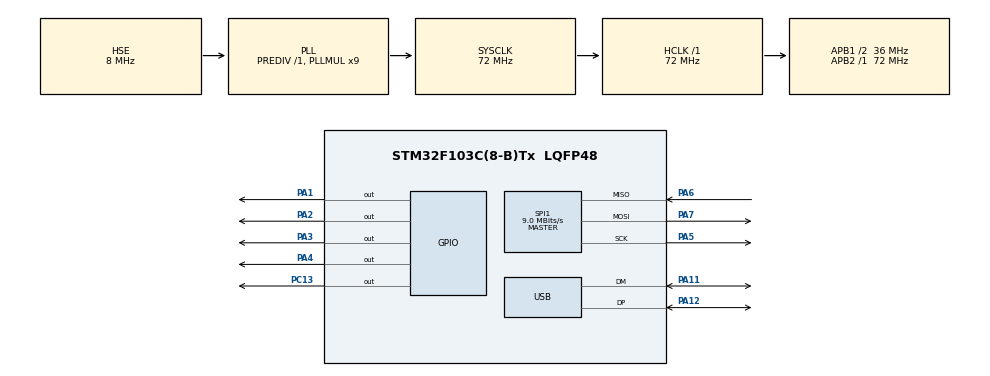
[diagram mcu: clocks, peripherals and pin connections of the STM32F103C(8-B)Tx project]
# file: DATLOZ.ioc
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Mcu.Family=STM32F1
Mcu.Name=STM32F103C(8-B)Tx
Mcu.Package=LQFP48
NVIC.PriorityGroup=NVIC_PRIORITYGROUP_4
NVIC.USB_LP_CAN1_RX0_IRQn=true\:0\:0\:false\:false\:true\:false\:true
PA1.GPIO_ModeDefaultOutputPP=GPIO_MODE_OUTPUT_PP
PA1.GPIO_PuPd=GPIO_NOPULL
PA1.GPIO_Speed=GPIO_SPEED_FREQ_HIGH
PA1.PinState=GPIO_PIN_RESET
PA1.Signal=GPIO_Output
PA11.Mode=Device
PA11.Signal=USB_DM
PA12.Mode=Device
PA12.Signal=USB_DP
PA13.Mode=Serial_Wire
PA13.Signal=SYS_JTMS-SWDIO
PA14.Mode=Serial_Wire
PA14.Signal=SYS_JTCK-SWCLK
PA2.GPIO_ModeDefaultOutputPP=GPIO_MODE_OUTPUT_PP
PA2.GPIO_PuPd=GPIO_NOPULL
PA2.GPIO_Speed=GPIO_SPEED_FREQ_HIGH
PA2.PinState=GPIO_PIN_RESET
PA2.Signal=GPIO_Output
PA3.GPIO_ModeDefaultOutputPP=GPIO_MODE_OUTPUT_PP
PA3.GPIO_PuPd=GPIO_NOPULL
PA3.GPIO_Speed=GPIO_SPEED_FREQ_HIGH
PA3.PinState=GPIO_PIN_RESET
PA3.Signal=GPIO_Output
PA4.GPIO_ModeDefaultOutputPP=GPIO_MODE_OUTPUT_PP
PA4.GPIO_PuPd=GPIO_NOPULL
PA4.GPIO_Speed=GPIO_SPEED_FREQ_HIGH
PA4.PinState=GPIO_PIN_RESET
PA4.Signal=GPIO_Output
PA5.Mode=Full_Duplex_Master
PA5.Signal=SPI1_SCK
PA6.Mode=Full_Duplex_Master
PA6.Signal=SPI1_MISO
PA7.Mode=Full_Duplex_Master
PA7.Signal=SPI1_MOSI
PC13-TAMPER-RTC.GPIO_ModeDefaultOutputPP=GPIO_MODE_OUTPUT_PP
PC13-TAMPER-RTC.GPIO_PuPd=GPIO_NOPULL
PC13-TAMPER-RTC.GPIO_Speed=GPIO_SPEED_FREQ_HIGH
PC13-TAMPER-RTC.PinState=GPIO_PIN_RESET
PC13-TAMPER-RTC.Signal=GPIO_Output
PD0-OSC_IN.Mode=HSE-External-Oscillator
PD0-OSC_IN.Signal=RCC_OSC_IN
PD1-OSC_OUT.Mode=HSE-External-Oscillator
PD1-OSC_OUT.Signal=RCC_OSC_OUT
ProjectManager.HeapSize=0x200
ProjectManager.StackSize=0x400
ProjectManager.TargetToolchain=MDK-ARM V5.27
RCC.AHBFreq_Value=72000000
RCC.APB1CLKDivider=RCC_HCLK_DIV2
RCC.APB1Freq_Value=36000000
RCC.APB1TimFreq_Value=72000000
RCC.APB2Freq_Value=72000000
RCC.APB2TimFreq_Value=72000000
RCC.HCLKFreq_Value=72000000
RCC.PLLMUL=RCC_PLL_MUL9
RCC.SYSCLKFreq_VALUE=72000000
RCC.SYSCLKSource=RCC_SYSCLKSOURCE_PLLCLK
RCC.USBFreq_Value=48000000
RCC.USBPrescaler=RCC_USBCLKSOURCE_PLL_DIV1_5
SPI1.BaudRatePrescaler=SPI_BAUDRATEPRESCALER_8
SPI1.CalculateBaudRate=9.0 MBits/s
SPI1.Direction=SPI_DIRECTION_2LINES
SPI1.Mode=SPI_MODE_MASTER
SPI1.VirtualType=VM_MASTER
USB_DEVICE.CLASS_NAME_FS=CDC
USB_DEVICE.VirtualMode=Cdc
USB_DEVICE.VirtualModeFS=Cdc_FS
VP_USB_DEVICE_VS_USB_DEVICE_CDC_FS.Mode=CDC_FS
board=custom

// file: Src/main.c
/* USER CODE BEGIN Header */
/**
  ******************************************************************************
  * @file           : main.c
  * @brief          : Main program body
  ******************************************************************************
  * @attention
  *
  * <h2><center>&copy; Copyright (c) 2020 STMicroelectronics.
  * All rights reserved.</center></h2>
  *
  * This software component is licensed by ST under Ultimate Liberty license
  * SLA0044, the "License"; You may not use this file except in compliance with
  * the License. You may obtain a copy of the License at:
  *                             www.st.com/SLA0044
  *
  ******************************************************************************
  */
/* USER CODE END Header */

#include "main.h"
#include "usb_device.h"
#include "rc522.h"
#include "rc1.h"

SPI_HandleTypeDef hspi1;
unsigned char CardID[5];
unsigned char CardID1[5];
/* USER CODE BEGIN PV */
// RC522
uint8_t MFRC522_Check(uint8_t* id);
uint8_t MFRC522_Compare(uint8_t* CardID, uint8_t* CompareID);
void MFRC522_WriteRegister(uint8_t addr, uint8_t val);
uint8_t MFRC522_ReadRegister(uint8_t addr);
void MFRC522_SetBitMask(uint8_t reg, uint8_t mask);
void MFRC522_ClearBitMask(uint8_t reg, uint8_t mask);
uint8_t MFRC522_Request(uint8_t reqMode, uint8_t* TagType);
uint8_t MFRC522_ToCard(uint8_t command, uint8_t* sendData, uint8_t sendLen, uint8_t* backData, uint16_t* backLen);
uint8_t MFRC522_Anticoll(uint8_t* serNum);
void MFRC522_CalulateCRC(uint8_t* pIndata, uint8_t len, uint8_t* pOutData);
uint8_t MFRC522_SelectTag(uint8_t* serNum);
uint8_t MFRC522_Auth(uint8_t authMode, uint8_t BlockAddr, uint8_t* Sectorkey, uint8_t* serNum);
uint8_t MFRC522_Read(uint8_t blockAddr, uint8_t* recvData);
uint8_t MFRC522_Write(uint8_t blockAddr, uint8_t* writeData);
void MFRC522_Init(void);
void MFRC522_Reset(void);
void MFRC522_AntennaOn(void);
void MFRC522_AntennaOff(void);
void MFRC522_Halt(void);

/*--- RC1 ---*/
uint8_t MFRC1_Check(uint8_t* id);
uint8_t MFRC1_Compare(uint8_t* CardID, uint8_t* CompareID);
void MFRC1_WriteRegister(uint8_t addr, uint8_t val);
uint8_t MFRC1_ReadRegister(uint8_t addr);
void MFRC1_SetBitMask(uint8_t reg, uint8_t mask);
void MFRC1_ClearBitMask(uint8_t reg, uint8_t mask);
uint8_t MFRC1_Request(uint8_t reqMode, uint8_t* TagType);
uint8_t MFRC1_ToCard(uint8_t command, uint8_t* sendData, uint8_t sendLen, uint8_t* backData, uint16_t* backLen);
uint8_t MFRC1_Anticoll(uint8_t* serNum);
void MFRC1_CalulateCRC(uint8_t* pIndata, uint8_t len, uint8_t* pOutData);
uint8_t MFRC1_SelectTag(uint8_t* serNum);
uint8_t MFRC1_Auth(uint8_t authMode, uint8_t BlockAddr, uint8_t* Sectorkey, uint8_t* serNum);
uint8_t MFRC1_Read(uint8_t blockAddr, uint8_t* recvData);
uint8_t MFRC1_Write(uint8_t blockAddr, uint8_t* writeData);
void MFRC1_Init(void);
void MFRC1_Reset(void);
void MFRC1_AntennaOn(void);
void MFRC1_AntennaOff(void);
void MFRC1_Halt(void);
/* USER CODE END PV */

void SystemClock_Config(void);
static void MX_GPIO_Init(void);
static void MX_SPI1_Init(void);

int main(void)
{

  /* MCU Configuration--------------------------------------------------------*/

  /* Reset of all peripherals, Initializes the Flash interface and the Systick. */
  HAL_Init();

  /* Configure the system clock */
  SystemClock_Config();

  /* Initialize all configured peripherals */
  MX_GPIO_Init();
  MX_SPI1_Init();
  MX_USB_DEVICE_Init();
  /* USER CODE BEGIN 2 */
	MFRC522_Init();
	MFRC1_Init();
  /* USER CODE END 2 */

  /* Infinite loop */
  while (1)
  {
		if (MFRC522_Check(CardID) == MI_OK)
		{
			HAL_GPIO_TogglePin(GPIOD, GPIO_PIN_12|GPIO_PIN_13|GPIO_PIN_14|GPIO_PIN_15);
			HAL_Delay(1000);
		}
		if (MFRC1_Check(CardID1) == MI_OK)
		{
			HAL_GPIO_TogglePin(GPIOD, GPIO_PIN_12|GPIO_PIN_13|GPIO_PIN_14|GPIO_PIN_15);
			HAL_Delay(1000);
		}
		HAL_Delay(100);
  }
}

void SystemClock_Config(void)
{
  RCC_OscInitTypeDef RCC_OscInitStruct = {0};
  RCC_ClkInitTypeDef RCC_ClkInitStruct = {0};
  RCC_PeriphCLKInitTypeDef PeriphClkInit = {0};

  /** Initializes the CPU, AHB and APB busses clocks
  */
  RCC_OscInitStruct.OscillatorType = RCC_OSCILLATORTYPE_HSE;
  RCC_OscInitStruct.HSEState = RCC_HSE_ON;
  RCC_OscInitStruct.HSEPredivValue = RCC_HSE_PREDIV_DIV1;
  RCC_OscInitStruct.HSIState = RCC_HSI_ON;
  RCC_OscInitStruct.PLL.PLLState = RCC_PLL_ON;
  RCC_OscInitStruct.PLL.PLLSource = RCC_PLLSOURCE_HSE;
  RCC_OscInitStruct.PLL.PLLMUL = RCC_PLL_MUL9;
  if (HAL_RCC_OscConfig(&RCC_OscInitStruct) != HAL_OK)
  {
    Error_Handler();
  }
  /** Initializes the CPU, AHB and APB busses clocks
  */
  RCC_ClkInitStruct.ClockType = RCC_CLOCKTYPE_HCLK|RCC_CLOCKTYPE_SYSCLK
                              |RCC_CLOCKTYPE_PCLK1|RCC_CLOCKTYPE_PCLK2;
  RCC_ClkInitStruct.SYSCLKSource = RCC_SYSCLKSOURCE_PLLCLK;
  RCC_ClkInitStruct.AHBCLKDivider = RCC_SYSCLK_DIV1;
  RCC_ClkInitStruct.APB1CLKDivider = RCC_HCLK_DIV2;
  RCC_ClkInitStruct.APB2CLKDivider = RCC_HCLK_DIV1;

  if (HAL_RCC_ClockConfig(&RCC_ClkInitStruct, FLASH_LATENCY_2) != HAL_OK)
  {
    Error_Handler();
  }
  PeriphClkInit.PeriphClockSelection = RCC_PERIPHCLK_USB;
  PeriphClkInit.UsbClockSelection = RCC_USBCLKSOURCE_PLL_DIV1_5;
  if (HAL_RCCEx_PeriphCLKConfig(&PeriphClkInit) != HAL_OK)
  {
    Error_Handler();
  }
}

static void MX_SPI1_Init(void)
{

  /* SPI1 parameter configuration*/
  hspi1.Instance = SPI1;
  hspi1.Init.Mode = SPI_MODE_MASTER;
  hspi1.Init.Direction = SPI_DIRECTION_2LINES;
  hspi1.Init.DataSize = SPI_DATASIZE_8BIT;
  hspi1.Init.CLKPolarity = SPI_POLARITY_LOW;
  hspi1.Init.CLKPhase = SPI_PHASE_1EDGE;
  hspi1.Init.NSS = SPI_NSS_SOFT;
  hspi1.Init.BaudRatePrescaler = SPI_BAUDRATEPRESCALER_8;
  hspi1.Init.FirstBit = SPI_FIRSTBIT_MSB;
  hspi1.Init.TIMode = SPI_TIMODE_DISABLE;
  hspi1.Init.CRCCalculation = SPI_CRCCALCULATION_DISABLE;
  hspi1.Init.CRCPolynomial = 10;
  if (HAL_SPI_Init(&hspi1) != HAL_OK)
  {
    Error_Handler();
  }

}

static void MX_GPIO_Init(void)
{
  GPIO_InitTypeDef GPIO_InitStruct = {0};

  /* GPIO Ports Clock Enable */
  __HAL_RCC_GPIOC_CLK_ENABLE();
  __HAL_RCC_GPIOD_CLK_ENABLE();
  __HAL_RCC_GPIOA_CLK_ENABLE();

  /*Configure GPIO pin Output Level */
  HAL_GPIO_WritePin(GPIOC, GPIO_PIN_13, GPIO_PIN_RESET);

  /*Configure GPIO pin Output Level */
  HAL_GPIO_WritePin(GPIOA, GPIO_PIN_1|GPIO_PIN_2|GPIO_PIN_3|GPIO_PIN_4, GPIO_PIN_RESET);

  /*Configure GPIO pin : PC13 */
  GPIO_InitStruct.Pin = GPIO_PIN_13;
  GPIO_InitStruct.Mode = GPIO_MODE_OUTPUT_PP;
  GPIO_InitStruct.Pull = GPIO_NOPULL;
  GPIO_InitStruct.Speed = GPIO_SPEED_FREQ_HIGH;
  HAL_GPIO_Init(GPIOC, &GPIO_InitStruct);

  /*Configure GPIO pins : PA1 PA2 PA3 PA4 */
  GPIO_InitStruct.Pin = GPIO_PIN_1|GPIO_PIN_2|GPIO_PIN_3|GPIO_PIN_4;
  GPIO_InitStruct.Mode = GPIO_MODE_OUTPUT_PP;
  GPIO_InitStruct.Pull = GPIO_NOPULL;
  GPIO_InitStruct.Speed = GPIO_SPEED_FREQ_HIGH;
  HAL_GPIO_Init(GPIOA, &GPIO_InitStruct);

}

void Error_Handler(void)
{
}

/************************ (C) COPYRIGHT STMicroelectronics *****END OF FILE****/
